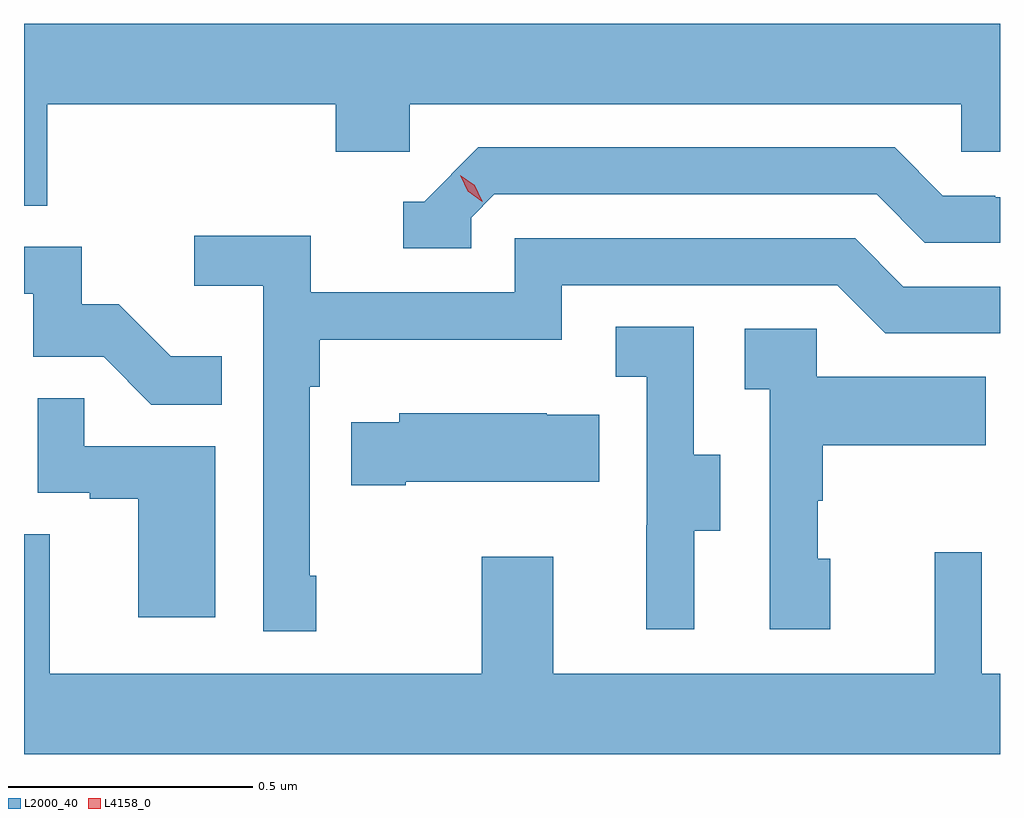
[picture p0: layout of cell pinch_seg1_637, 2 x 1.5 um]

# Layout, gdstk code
import gdstk
lib = gdstk.Library(unit=1e-6, precision=1e-09)
def P(c, l, *ps):  # polygons
    for p in ps: c.add(gdstk.Polygon(p, *l))
L2000_40 = (2000, 40)
L4158_0 = (4158, 0)

pinch_seg1_637 = lib.new_cell('pinch_seg1_637')
P(pinch_seg1_637, L2000_40, [(1119.758,517.1),(1120.349,517.1),(1120.349,517.002),(1120.5,517.002),(1120.5,517.1),(1121.631,517.1),(1121.631,517.002),(1121.71,517.002),(1121.71,517.264),(1119.71,517.264),(1119.71,516.892),(1119.758,516.892)],
  [(1120.626,516.867),(1120.674,516.915),(1121.457,516.915),(1121.556,516.816),(1121.71,516.816),(1121.71,516.909),(1121.7,516.909),(1121.7,516.912),(1121.593,516.912),(1121.494,517.011),(1120.641,517.011),(1120.53,516.9),(1120.487,516.9),(1120.487,516.804),(1120.626,516.804)],
  [(1120.309,516.133),(1120.296,516.133),(1120.296,516.521),(1120.316,516.521),(1120.316,516.617),(1120.812,516.617),(1120.812,516.729),(1121.376,516.729),(1121.475,516.63),(1121.71,516.63),(1121.71,516.726),(1121.512,516.726),(1121.413,516.825),(1120.716,516.825),(1120.716,516.714),(1120.298,516.714),(1120.298,516.83),(1120.059,516.83),(1120.059,516.728),(1120.2,516.728),(1120.2,516.02),(1120.309,516.02)],
  [(1120.115,516.583),(1120.011,516.583),(1119.904,516.69),(1119.828,516.69),(1119.828,516.807),(1119.71,516.807),(1119.71,516.711),(1119.729,516.711),(1119.729,516.582),(1119.873,516.582),(1119.971,516.484),(1120.115,516.484)],
  [(1121.083,516.226),(1121.137,516.226),(1121.137,516.381),(1121.082,516.381),(1121.082,516.644),(1120.923,516.644),(1120.923,516.541),(1120.986,516.541),(1120.986,516.237),(1120.985,516.237),(1120.985,516.024),(1121.083,516.024)],
  [(1121.362,516.168),(1121.337,516.168),(1121.337,516.287),(1121.347,516.287),(1121.347,516.401),(1121.681,516.401),(1121.681,516.541),(1121.334,516.541),(1121.334,516.639),(1121.187,516.639),(1121.187,516.515),(1121.238,516.515),(1121.238,516.024),(1121.362,516.024)],
  [(1120.102,516.399),(1119.833,516.399),(1119.833,516.497),(1119.738,516.497),(1119.738,516.303),(1119.845,516.303),(1119.845,516.291),(1119.944,516.291),(1119.944,516.048),(1120.102,516.048)],
  [(1120.492,516.326),(1120.889,516.326),(1120.889,516.463),(1120.781,516.463),(1120.781,516.466),(1120.479,516.466),(1120.479,516.448),(1120.381,516.448),(1120.381,516.319),(1120.492,516.319)],
  [(1121.71,515.932),(1121.673,515.932),(1121.673,516.181),(1121.576,516.181),(1121.576,515.932),(1120.795,515.932),(1120.795,516.172),(1120.648,516.172),(1120.648,515.932),(1119.763,515.932),(1119.763,516.218),(1119.71,516.218),(1119.71,515.768),(1121.71,515.768)])
P(pinch_seg1_637, L4158_0, [(1120.649,516.9),(1120.619,516.921),(1120.604,516.954),(1120.604,516.954),(1120.604,516.954),(1120.634,516.934),(1120.649,516.901),(1120.649,516.9)])

lib.write_gds('pinch_seg1_637.gds')
